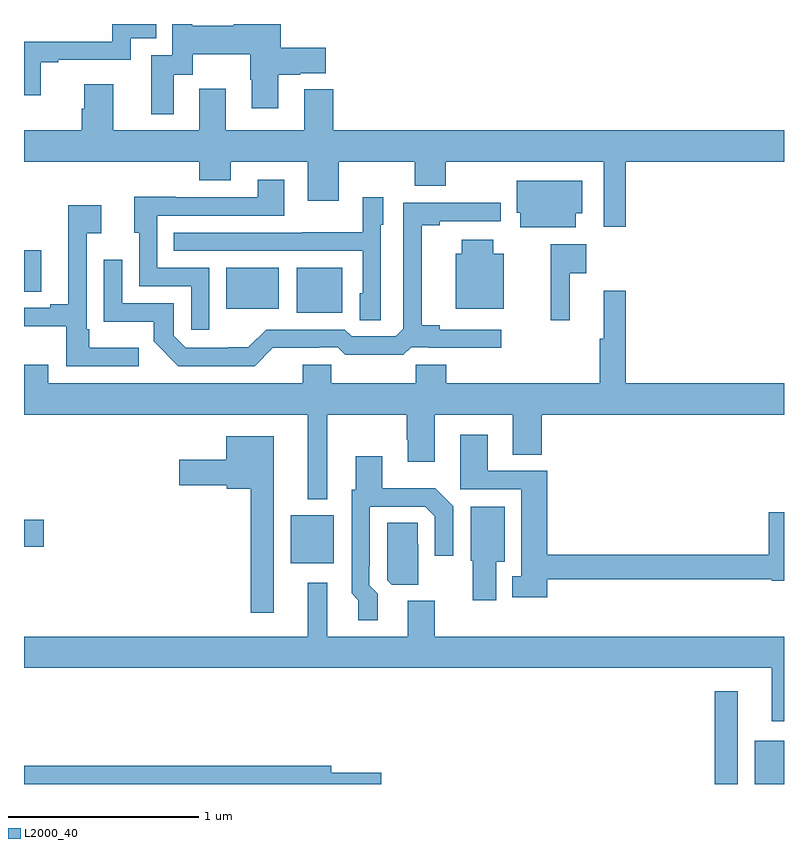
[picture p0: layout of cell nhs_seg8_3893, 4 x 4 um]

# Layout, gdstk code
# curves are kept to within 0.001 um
import gdstk
lib = gdstk.Library(unit=1e-6, precision=1e-09)
def R(c, l, rs):  # rectangles x0, y0, x1, y1
    for r in rs: c.add(gdstk.rectangle(r[:2], r[2:], *l))
def P(c, l, *ps):  # polygons
    for p in ps: c.add(gdstk.Polygon(p, *l))
L2000_40 = (2000, 40)

nhs_seg8_3893 = lib.new_cell('nhs_seg8_3893')
R(nhs_seg8_3893, L2000_40, [(354.636,1103.9,354.757,1104.388), (354.845,1103.9,355,1104.127), (352.403,1105.061,352.63,1105.315), (351,1105.15,351.103,1105.292), (352.436,1106.381,352.675,1106.617), (352.064,1106.402,352.342,1106.617), (351,1106.491,351.091,1106.71)])
P(nhs_seg8_3893, L2000_40, [(351.787,1107.634),(351.889,1107.634),(351.889,1107.74),(352.192,1107.74),(352.192,1107.606),(352.199,1107.606),(352.199,1107.456),(352.339,1107.456),(352.339,1107.634),(352.455,1107.634),(352.455,1107.641),(352.588,1107.641),(352.588,1107.776),(352.352,1107.776),(352.352,1107.9),(352.103,1107.9),(352.103,1107.892),(351.885,1107.892),(351.885,1107.9),(351.78,1107.9),(351.78,1107.735),(351.671,1107.735),(351.671,1107.426),(351.787,1107.426)],
  [(351.087,1107.699),(351.181,1107.699),(351.181,1107.711),(351.561,1107.711),(351.561,1107.825),(351.695,1107.825),(351.695,1107.9),(351.465,1107.9),(351.465,1107.807),(351,1107.807),(351,1107.524),(351.087,1107.524)],
  [(354.167,1107.176),(355,1107.176),(355,1107.34),(352.628,1107.34),(352.628,1107.556),(352.475,1107.556),(352.475,1107.34),(352.063,1107.34),(352.063,1107.559),(351.923,1107.559),(351.923,1107.34),(351.469,1107.34),(351.469,1107.583),(351.317,1107.583),(351.317,1107.453),(351.305,1107.453),(351.305,1107.34),(351,1107.34),(351,1107.176),(351.923,1107.176),(351.923,1107.077),(352.087,1107.077),(352.087,1107.176),(352.493,1107.176),(352.493,1106.97),(352.657,1106.97),(352.657,1107.176),(353.057,1107.176),(353.057,1107.048),(353.221,1107.048),(353.221,1107.176),(354.051,1107.176),(354.051,1106.832),(354.167,1106.832)],
  [(351.975,1106.616),(351.702,1106.616),(351.702,1106.892),(352.369,1106.892),(352.369,1107.079),(352.229,1107.079),(352.229,1106.988),(351.799,1106.988),(351.799,1106.99),(351.581,1106.99),(351.581,1106.802),(351.606,1106.802),(351.606,1106.52),(351.879,1106.52),(351.879,1106.292),(351.975,1106.292)],
  [(353.905,1106.903),(353.938,1106.903),(353.938,1107.076),(353.594,1107.076),(353.594,1106.907),(353.612,1106.907),(353.612,1106.831),(353.905,1106.831)],
  [(352.878,1106.844),(352.891,1106.844),(352.891,1106.989),(352.782,1106.989),(352.782,1106.803),(352.465,1106.803),(352.465,1106.802),(351.787,1106.802),(351.787,1106.706),(352.782,1106.706),(352.782,1106.484),(352.766,1106.484),(352.766,1106.341),(352.878,1106.341)],
  [(352.31,1106.195),(352.55,1106.195),(352.55,1106.199),(352.65,1106.199),(352.69,1106.16),(352.997,1106.16),(353.037,1106.199),(353.131,1106.199),(353.131,1106.195),(353.512,1106.195),(353.512,1106.292),(353.188,1106.292),(353.188,1106.315),(353.093,1106.315),(353.093,1106.842),(353.188,1106.842),(353.188,1106.862),(353.509,1106.862),(353.509,1106.958),(352.995,1106.958),(352.995,1106.295),(352.956,1106.256),(352.725,1106.256),(352.689,1106.292),(352.275,1106.292),(352.181,1106.198),(352.076,1106.198),(352.076,1106.196),(351.852,1106.196),(351.789,1106.259),(351.789,1106.43),(351.516,1106.43),(351.516,1106.659),(351.42,1106.659),(351.42,1106.333),(351.682,1106.333),(351.682,1106.231),(351.812,1106.1),(352.215,1106.1)],
  [(351.604,1106.197),(351.343,1106.197),(351.343,1106.293),(351.33,1106.293),(351.33,1106.798),(351.406,1106.798),(351.406,1106.947),(351.233,1106.947),(351.233,1106.425),(351.137,1106.425),(351.137,1106.406),(351,1106.406),(351,1106.309),(351.222,1106.309),(351.222,1106.1),(351.604,1106.1)],
  [(353.524,1106.692),(353.469,1106.692),(353.469,1106.764),(353.303,1106.764),(353.303,1106.692),(353.273,1106.692),(353.273,1106.402),(353.524,1106.402)],
  [(353.873,1106.588),(353.959,1106.588),(353.959,1106.74),(353.773,1106.74),(353.773,1106.34),(353.873,1106.34)],
  [(352.597,1105.844),(353.014,1105.844),(353.014,1105.711),(353.021,1105.711),(353.021,1105.596),(353.161,1105.596),(353.161,1105.844),(353.573,1105.844),(353.573,1105.633),(353.726,1105.633),(353.726,1105.844),(355,1105.844),(355,1106.008),(354.167,1106.008),(354.167,1106.497),(354.05,1106.497),(354.05,1106.244),(354.031,1106.244),(354.031,1106.008),(353.222,1106.008),(353.222,1106.106),(353.062,1106.106),(353.062,1106.008),(352.617,1106.008),(352.617,1106.106),(352.466,1106.106),(352.466,1106.008),(351.127,1106.008),(351.127,1106.107),(351,1106.107),(351,1105.844),(352.493,1105.844),(352.493,1105.4),(352.597,1105.4)],
  [(353.753,1104.978),(354.936,1104.978),(354.936,1104.97),(355,1104.97),(355,1105.33),(354.92,1105.33),(354.92,1105.106),(353.753,1105.106),(353.753,1105.548),(353.44,1105.548),(353.44,1105.738),(353.297,1105.738),(353.297,1105.452),(353.618,1105.452),(353.618,1104.994),(353.57,1104.994),(353.57,1104.884),(353.753,1104.884)],
  [(352.315,1105.729),(352.064,1105.729),(352.064,1105.606),(351.816,1105.606),(351.816,1105.472),(352.068,1105.472),(352.068,1105.454),(352.194,1105.454),(352.194,1104.801),(352.315,1104.801)],
  [(352.861,1104.902),(352.818,1104.945),(352.818,1105.045),(352.821,1105.045),(352.821,1105.359),(353.112,1105.359),(353.163,1105.308),(353.163,1105.101),(353.259,1105.101),(353.259,1105.362),(353.165,1105.456),(352.885,1105.456),(352.885,1105.624),(352.745,1105.624),(352.745,1105.449),(352.725,1105.449),(352.724,1104.904),(352.76,1104.868),(352.76,1104.762),(352.861,1104.762)],
  [(353.485,1105.07),(353.53,1105.07),(353.53,1105.36),(353.351,1105.36),(353.351,1105.074),(353.363,1105.074),(353.363,1104.867),(353.485,1104.867)],
  [(353.074,1105.163),(353.073,1105.163),(353.073,1105.274),(352.911,1105.274),(352.911,1104.972),(352.935,1104.949),(353.074,1104.949)],
  [(355,1104.676),(353.161,1104.676),(353.161,1104.864),(353.021,1104.864),(353.021,1104.676),(352.597,1104.676),(352.597,1104.958),(352.493,1104.958),(352.493,1104.676),(351,1104.676),(351,1104.512),(354.935,1104.512),(354.935,1104.231),(355,1104.231)],
  [(352.879,1103.96),(352.618,1103.96),(352.618,1103.996),(351,1103.996),(351,1103.9),(352.879,1103.9)])

lib.write_gds('nhs_seg8_3893.gds')
